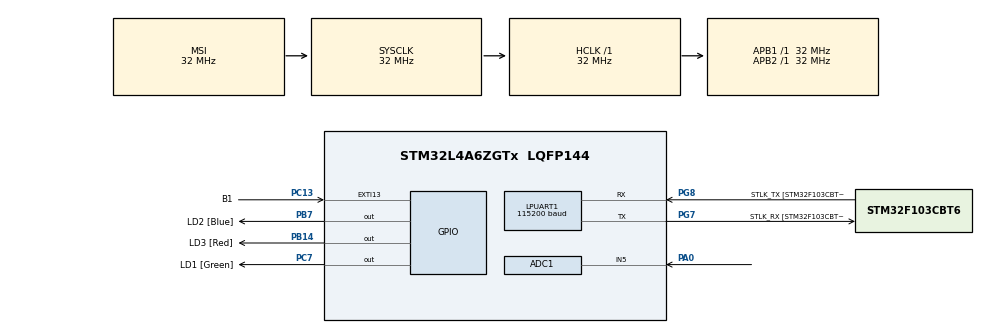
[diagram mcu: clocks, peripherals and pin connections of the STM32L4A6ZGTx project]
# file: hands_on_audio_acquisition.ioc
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ADC1.Channel-0\#ChannelRegularConversion=ADC_CHANNEL_5
ADC1.DMAContinuousRequests=ENABLE
ADC1.ExternalTrigConv=ADC_EXTERNALTRIG_T3_TRGO
ADC1.NbrOfConversionFlag=1
ADC1.OffsetNumber-0\#ChannelRegularConversion=ADC_OFFSET_NONE
ADC1.Rank-0\#ChannelRegularConversion=1
ADC1.SamplingTime-0\#ChannelRegularConversion=ADC_SAMPLETIME_2CYCLES_5
ADC1.master=1
Dma.ADC1.0.Direction=DMA_PERIPH_TO_MEMORY
Dma.ADC1.0.Instance=DMA1_Channel1
Dma.ADC1.0.MemDataAlignment=DMA_MDATAALIGN_HALFWORD
Dma.ADC1.0.MemInc=DMA_MINC_ENABLE
Dma.ADC1.0.Mode=DMA_CIRCULAR
Dma.ADC1.0.PeriphDataAlignment=DMA_PDATAALIGN_HALFWORD
Dma.ADC1.0.PeriphInc=DMA_PINC_DISABLE
Dma.ADC1.0.Priority=DMA_PRIORITY_LOW
Dma.Request0=ADC1
LPUART1.AutoBaudRateEnableParam=UART_ADVFEATURE_AUTOBAUDRATE_DISABLE
LPUART1.BaudRate=115200
LPUART1.DMADisableonRxErrorParam=UART_ADVFEATURE_DMA_ENABLEONRXERROR
LPUART1.DataInvertParam=UART_ADVFEATURE_DATAINV_DISABLE
LPUART1.MSBFirstParam=UART_ADVFEATURE_MSBFIRST_DISABLE
LPUART1.Mode=UART_MODE_TX_RX
LPUART1.OneBitSampling=UART_ONE_BIT_SAMPLE_DISABLE
LPUART1.OverrunDisableParam=UART_ADVFEATURE_OVERRUN_ENABLE
LPUART1.Parity=UART_PARITY_NONE
LPUART1.RxPinLevelInvertParam=UART_ADVFEATURE_RXINV_DISABLE
LPUART1.StopBits=UART_STOPBITS_1
LPUART1.SwapParam=UART_ADVFEATURE_SWAP_DISABLE
LPUART1.TxPinLevelInvertParam=UART_ADVFEATURE_TXINV_DISABLE
LPUART1.WordLength=UART_WORDLENGTH_8B
Mcu.Family=STM32L4
Mcu.Name=STM32L4A6ZGTx
Mcu.Package=LQFP144
NVIC.DMA1_Channel1_IRQn=true\:0\:0\:false\:false\:true\:false\:true\:true
NVIC.EXTI15_10_IRQn=true\:0\:0\:false\:false\:true\:true\:true\:true
NVIC.PriorityGroup=NVIC_PRIORITYGROUP_4
PA0.Signal=ADCx_IN5
PA13\ (JTMS/SWDIO).GPIO_Label=TMS
PA13\ (JTMS/SWDIO).Mode=Trace_Asynchronous_SW
PA13\ (JTMS/SWDIO).Signal=SYS_JTMS-SWDIO
PA14\ (JTCK/SWCLK).GPIO_Label=TCK
PA14\ (JTCK/SWCLK).Mode=Trace_Asynchronous_SW
PA14\ (JTCK/SWCLK).Signal=SYS_JTCK-SWCLK
PB14.GPIO_Label=LD3 [Red]
PB14.Signal=GPIO_Output
PB3\ (JTDO/TRACESWO).GPIO_Label=SWO
PB3\ (JTDO/TRACESWO).Mode=Trace_Asynchronous_SW
PB3\ (JTDO/TRACESWO).Signal=SYS_JTDO-SWO
PB7.GPIO_Label=LD2 [Blue]
PB7.Signal=GPIO_Output
PC13.GPIO_Label=B1
PC13.Signal=GPXTI13
PC14-OSC32_IN\ (PC14).Mode=LSE-External-Oscillator
PC14-OSC32_IN\ (PC14).Signal=RCC_OSC32_IN
PC15-OSC32_OUT\ (PC15).Mode=LSE-External-Oscillator
PC15-OSC32_OUT\ (PC15).Signal=RCC_OSC32_OUT
PC7.GPIO_Label=LD1 [Green]
PC7.Signal=GPIO_Output
PG7.GPIO_Label=STLK_RX [STM32F103CBT6_PA3]
PG7.Mode=Asynchronous
PG7.Signal=LPUART1_TX
PG8.GPIO_Label=STLK_TX [STM32F103CBT6_PA2]
PG8.Mode=Asynchronous
PG8.Signal=LPUART1_RX
PH1-OSC_OUT\ (PH1).Signal=RCC_OSC_OUT
ProjectManager.HeapSize=0x200
ProjectManager.StackSize=0x400
ProjectManager.TargetToolchain=STM32CubeIDE
RCC.ADCCLockSelection=RCC_ADCCLKSOURCE_SYSCLK
RCC.ADCFreq_Value=32000000
RCC.AHBFreq_Value=32000000
RCC.APB1Freq_Value=32000000
RCC.APB1TimFreq_Value=32000000
RCC.APB2Freq_Value=32000000
RCC.APB2TimFreq_Value=32000000
RCC.CortexFreq_Value=32000000
RCC.FLatency=FLASH_LATENCY_1
RCC.HCLKFreq_Value=32000000
RCC.HSE_VALUE=8000000
RCC.HSI48_VALUE=48000000
RCC.HSI_VALUE=16000000
RCC.MSIClockRange=RCC_MSIRANGE_10
RCC.MSI_VALUE=32000000
RCC.PLLN=71
RCC.PLLR=RCC_PLLR_DIV6
RCC.PLLSAI1N=24
RCC.SYSCLKFreq_VALUE=32000000
RCC.USBFreq_Value=384000000
RCC.VCOOutputFreq_Value=2272000000
SH.ADCx_IN5.0=ADC1_IN5,IN5-Single-Ended
TIM3.Period=195
TIM3.Prescaler=15
TIM3.TIM_MasterOutputTrigger=TIM_TRGO_UPDATE
VP_TIM3_VS_ClockSourceINT.Mode=Internal
board=NUCLEO-L4A6ZG

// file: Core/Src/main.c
/* USER CODE BEGIN Header */
/**
  ******************************************************************************
  * @file           : main.c
  * @brief          : Main program body
  ******************************************************************************
  * @attention
  *
  * <h2><center>&copy; Copyright (c) 2021 STMicroelectronics.
  * All rights reserved.</center></h2>
  *
  * This software component is licensed by ST under BSD 3-Clause license,
  * the "License"; You may not use this file except in compliance with the
  * License. You may obtain a copy of the License at:
  *                        opensource.org/licenses/BSD-3-Clause
  *
  ******************************************************************************
  */
/* USER CODE END Header */
#include "main.h"
#include "adc.h"
#include "dma.h"
#include "usart.h"
#include "tim.h"
#include "gpio.h"

/* USER CODE BEGIN Includes */
#include <stdio.h>
#include "retarget.h"
/* USER CODE END Includes */

/* USER CODE BEGIN PD */
#define ADC_BUF_SIZE 5000
#define POWER_THRESHOLD 50
/* USER CODE END PD */

/* USER CODE BEGIN PV */
volatile int state;
volatile uint16_t ADCBuffer[2*ADC_BUF_SIZE]; /* ADC group regular conversion data (array of data) */
volatile uint16_t* ADCData1;
volatile uint16_t* ADCData2;

char hex_encoded_buffer[4*ADC_BUF_SIZE+1];
/* USER CODE END PV */

void SystemClock_Config(void);
/* USER CODE BEGIN PFP */
void hex_encode(char* s, const uint8_t* buf, size_t len);
void print_buffer(uint16_t *buffer);
uint32_t get_signal_power(uint16_t *buffer, size_t len);
/* USER CODE END PFP */

/* USER CODE BEGIN 0 */

volatile uint8_t stop_requested = 0;  // Used to stop after a high-power detection

void HAL_GPIO_EXTI_Callback(uint16_t GPIO_Pin)
{
    if (GPIO_Pin == B1_Pin)
    {
        // Toggle state variable
        state = 1 - state;

        if (state == 1)
        {
        	state = 0;
            printf("Button pressed → Starting ADC sampling (double buffer)...\r\n");

            //stop_requested = 0;

            // Start the timer (triggers ADC conversions)

            HAL_TIM_Base_Start(&htim3);

            // Start ADC DMA for 2*ADC_BUF_SIZE samples (double buffer)
            if (HAL_ADC_Start_DMA(&hadc1, (uint32_t *)ADCBuffer, 2 * ADC_BUF_SIZE) != HAL_OK)
            {
                printf("Error starting ADC DMA!\r\n");
            }

        }
        //HAL_Delay(50);
    }
}

void hex_encode(char* s, const uint8_t* buf, size_t len) {
    s[2*len] = '\0'; // A string terminated by a zero char.
    for (size_t i=0; i<len; i++) {
        s[i*2] = "0123456789abcdef"[buf[i] >> 4];
        s[i*2+1] = "0123456789abcdef"[buf[i] & 0xF];
    }
}

void print_buffer(uint16_t *buffer) {
	hex_encode(hex_encoded_buffer, (uint8_t*)buffer, 2*ADC_BUF_SIZE);
  HAL_GPIO_WritePin(LD2_GPIO_Port, LD2_Pin, GPIO_PIN_SET);
	printf("SND:HEX:%s\r\n", hex_encoded_buffer);
	HAL_GPIO_WritePin(LD2_GPIO_Port, LD2_Pin, GPIO_PIN_RESET);

}

uint32_t get_signal_power(uint16_t *buffer, size_t len){
	uint64_t sum = 0;
	uint64_t sum2 = 0;
	for (size_t i=0; i<len; i++) {
		sum += (uint64_t) buffer[i];
		sum2 += (uint64_t) buffer[i]*(uint64_t) buffer[i];
	}
	return (uint32_t)(sum2/len - sum*sum/len/len);
}

void HAL_ADC_ConvHalfCpltCallback(ADC_HandleTypeDef *hadc)
{
    if (hadc->Instance == ADC1)
    {
        uint32_t power = get_signal_power((uint16_t *)ADCData1, ADC_BUF_SIZE);
        printf("[Half] Power = %lu\r\n", power);

        if (power > POWER_THRESHOLD)
        {
            stop_requested = 1; // will stop after finishing current buffer
        }
    }
}

void HAL_ADC_ConvCpltCallback(ADC_HandleTypeDef *hadc)
{
    if (hadc->Instance == ADC1)
    {
        uint32_t power = get_signal_power((uint16_t *)ADCData2, ADC_BUF_SIZE);
        printf("[Full] Power = %lu\r\n", power);

        if (stop_requested)
        {
            printf("Power threshold exceeded! Stopping sampling...\r\n");
            HAL_TIM_Base_Stop(&htim3);
            HAL_ADC_Stop_DMA(&hadc1);

            // Send the entire buffer (2 * ADC_BUF_SIZE samples)
            print_buffer((uint16_t *)ADCBuffer);

            stop_requested = 0; // reset for next run
        }
    }
}
/* USER CODE END 0 */

int main(void)
{

  /* MCU Configuration--------------------------------------------------------*/

  /* Reset of all peripherals, Initializes the Flash interface and the Systick. */
  HAL_Init();

  /* Configure the system clock */
  SystemClock_Config();

  /* Initialize all configured peripherals */
  MX_GPIO_Init();
  MX_DMA_Init();
  MX_LPUART1_UART_Init();
  MX_ADC1_Init();
  MX_TIM3_Init();
  /* USER CODE BEGIN 2 */
  RetargetInit(&hlpuart1);
  printf("Hello world!\r\n");
  state=0;
  ADCData1 = &ADCBuffer[0];
  ADCData2 = &ADCBuffer[ADC_BUF_SIZE];
  /* USER CODE END 2 */

  /* Infinite loop */
  while (1)
  {

    /* USER CODE BEGIN 3 */

	  __WFI();
  }

  /* USER CODE END 3 */
}

void SystemClock_Config(void)
{
  RCC_OscInitTypeDef RCC_OscInitStruct = {0};
  RCC_ClkInitTypeDef RCC_ClkInitStruct = {0};

  /** Configure the main internal regulator output voltage
  */
  if (HAL_PWREx_ControlVoltageScaling(PWR_REGULATOR_VOLTAGE_SCALE1) != HAL_OK)
  {
    Error_Handler();
  }

  /** Initializes the RCC Oscillators according to the specified parameters
  * in the RCC_OscInitTypeDef structure.
  */
  RCC_OscInitStruct.OscillatorType = RCC_OSCILLATORTYPE_MSI;
  RCC_OscInitStruct.MSIState = RCC_MSI_ON;
  RCC_OscInitStruct.MSICalibrationValue = 0;
  RCC_OscInitStruct.MSIClockRange = RCC_MSIRANGE_10;
  RCC_OscInitStruct.PLL.PLLState = RCC_PLL_NONE;
  if (HAL_RCC_OscConfig(&RCC_OscInitStruct) != HAL_OK)
  {
    Error_Handler();
  }

  /** Initializes the CPU, AHB and APB buses clocks
  */
  RCC_ClkInitStruct.ClockType = RCC_CLOCKTYPE_HCLK|RCC_CLOCKTYPE_SYSCLK
                              |RCC_CLOCKTYPE_PCLK1|RCC_CLOCKTYPE_PCLK2;
  RCC_ClkInitStruct.SYSCLKSource = RCC_SYSCLKSOURCE_MSI;
  RCC_ClkInitStruct.AHBCLKDivider = RCC_SYSCLK_DIV1;
  RCC_ClkInitStruct.APB1CLKDivider = RCC_HCLK_DIV1;
  RCC_ClkInitStruct.APB2CLKDivider = RCC_HCLK_DIV1;

  if (HAL_RCC_ClockConfig(&RCC_ClkInitStruct, FLASH_LATENCY_1) != HAL_OK)
  {
    Error_Handler();
  }
}

void Error_Handler(void)
{
  __disable_irq();
  while (1)
  {
  }
}
